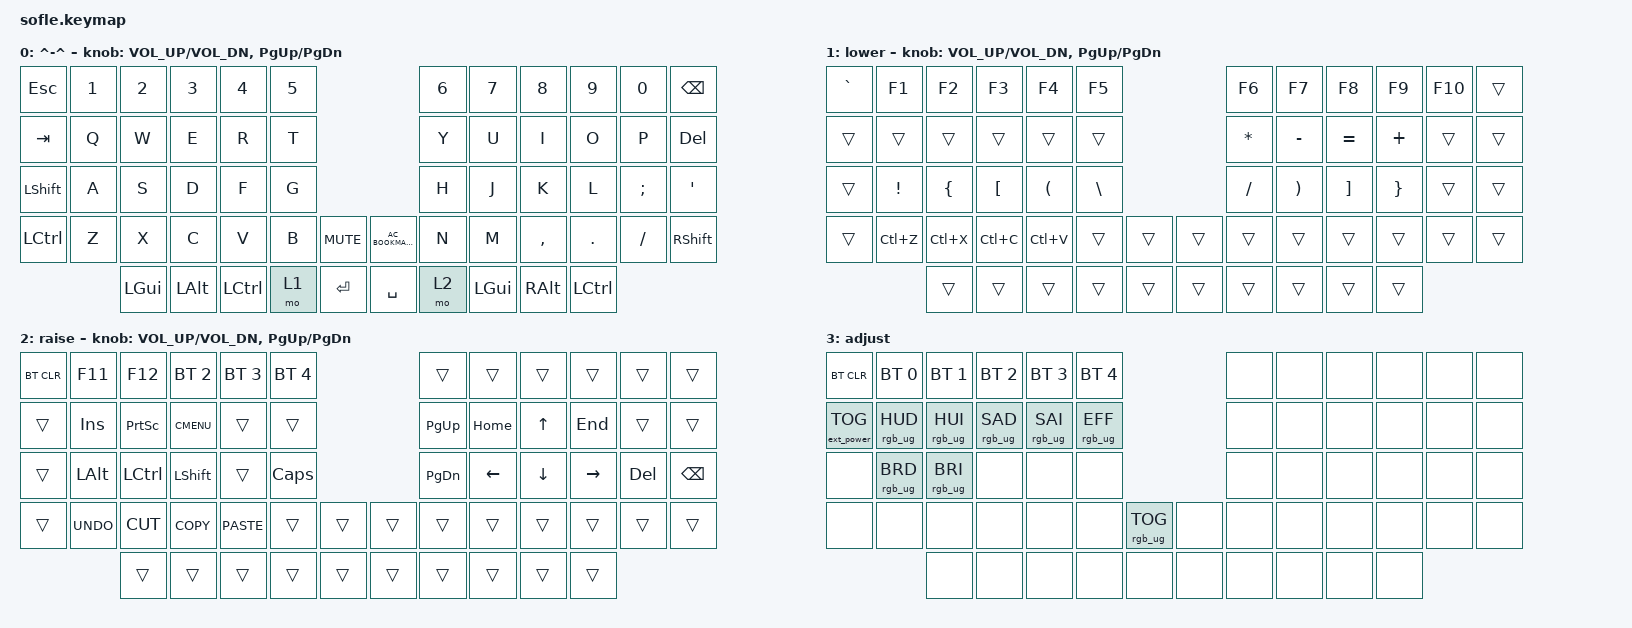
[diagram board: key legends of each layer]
/*
 * Copyright (c) 2020 The ZMK Contributors
 *
 * SPDX-License-Identifier: MIT
 */

#include <behaviors.dtsi>
#include <dt-bindings/zmk/bt.h>
#include <dt-bindings/zmk/ext_power.h>
#include <dt-bindings/zmk/keys.h>
#include <dt-bindings/zmk/rgb.h>

#define BASE 0
#define LOWER 1
#define RAISE 2
#define ADJUST 3

/ {
    // Activate ADJUST layer by pressing raise and lower

    conditional_layers {
        compatible = "zmk,conditional-layers";

        adjust_layer {
            if-layers = <1 2>;
            then-layer = <3>;
        };
    };

    keymap {
        compatible = "zmk,keymap";

        default_layer {
            display-name = "^-^";

            // ------------------------------------------------------------------------------------------------------------
            // |   `   |  1  |  2  |  3   |  4   |  5   |                   |  6   |  7    |  8    |  9   |   0   |       |
            // |  ESC  |  Q  |  W  |  E   |  R   |  T   |                   |  Y   |  U    |  I    |  O   |   P   | BKSPC |
            // |  TAB  |  A  |  S  |  D   |  F   |  G   |                   |  H   |  J    |  K    |  L   |   ;   |   '   |
            // | SHIFT |  Z  |  X  |  C   |  V   |  B   |  MUTE  |  |       |  N   |  M    |  ,    |  .   |   /   | SHIFT |
            //               | GUI | ALT  | CTRL | LOWER|  ENTER |  | SPACE | RAISE| CTRL  | ALT   | GUI  |

            bindings = <
&kp ESC         &kp N1  &kp N2    &kp N3    &kp N4     &kp N5                                    &kp N6  &kp N7    &kp N8     &kp N9     &kp N0    &kp BACKSPACE
&kp TAB         &kp Q   &kp W     &kp E     &kp R      &kp T                                     &kp Y   &kp U     &kp I      &kp O      &kp P     &kp DELETE
&kp LEFT_SHIFT  &kp A   &kp S     &kp D     &kp F      &kp G                                     &kp H   &kp J     &kp K      &kp L      &kp SEMI  &kp SQT
&kp LCTRL       &kp Z   &kp X     &kp C     &kp V      &kp B   &kp C_MUTE    &kp C_AC_BOOKMARKS  &kp N   &kp M     &kp COMMA  &kp DOT    &kp FSLH  &kp RSHFT
                        &kp LGUI  &kp LALT  &kp LCTRL  &mo 1   &kp ENTER     &kp SPACE           &mo 2   &kp LGUI  &kp RALT   &kp LCTRL
            >;

            sensor-bindings = <&inc_dec_kp C_VOL_UP C_VOL_DN &inc_dec_kp PG_UP PG_DN>;
        };

        lower_layer {
            display-name = "lower";

            // TODO: Some binds are waiting for shifted keycode support.
            // ------------------------------------------------------------------------------------------------------------
            // |       |  F1 |  F2 |  F3  |  F4  |  F5  |                   |  F6  |  F7   |  F8   |  F9  |  F10  |  F11  |
            // |   `   |  1  |  2  |  3   |  4   |  5   |                   |  6   |  7    |  8    |  9   |   0   |  F12  |
            // |       |  !  |  @  |  #   |  $   |  %   |                   |  ^   |  &    |  *    |  (   |   )   |   |   |
            // |       |  =  |  -  |  +   |  {   |  }   |        |  |       |  [   |  ]    |  ;    |  :   |   \   |       |
            //               |     |      |      |      |        |  |       |      |       |       |      |

            bindings = <
&kp GRAVE  &kp F1           &kp F2          &kp F3            &kp F4                &kp F5                      &kp F6        &kp F7                 &kp F8             &kp F9           &kp F10  &trans
&trans     &trans           &trans          &trans            &trans                &trans                      &kp ASTERISK  &kp MINUS              &kp EQUAL          &kp PLUS         &trans   &trans
&trans     &kp EXCLAMATION  &kp LEFT_BRACE  &kp LEFT_BRACKET  &kp LEFT_PARENTHESIS  &kp BSLH                    &kp SLASH     &kp RIGHT_PARENTHESIS  &kp RIGHT_BRACKET  &kp RIGHT_BRACE  &trans   &trans
&trans     &kp LC(Z)        &kp LC(X)       &kp LC(C)         &kp LC(V)             &trans    &trans    &trans  &trans        &trans                 &trans             &trans           &trans   &trans
                            &trans          &trans            &trans                &trans    &trans    &trans  &trans        &trans                 &trans             &trans
            >;

            sensor-bindings = <&inc_dec_kp C_VOL_UP C_VOL_DN &inc_dec_kp PG_UP PG_DN>;
        };

        raise_layer {
            display-name = "raise";

            // ------------------------------------------------------------------------------------------------------------
            // | BTCLR | BT1  | BT2  |  BT3  |  BT4  |  BT5 |                |      |      |       |      |       |       |
            // |       | INS  | PSCR | GUI   |       |      |                | PGUP |      |   ^   |      |       |       |
            // |       | ALT  | CTRL | SHIFT |       | CAPS |                | PGDN |   <- |   v   |  ->  |  DEL  | BKSPC |
            // |       | UNDO | CUT  | COPY  | PASTE |      |      |  |      |      |      |       |      |       |       |
            //                |      |       |       |      |      |  |      |      |      |       |      |

            bindings = <
&bt BT_CLR  &kp F11     &kp F12    &bt BT_SEL 2  &bt BT_SEL 3  &bt BT_SEL 4                    &trans     &trans    &trans    &trans     &trans   &trans
&trans      &kp INS     &kp PSCRN  &kp K_CMENU   &trans        &trans                          &kp PG_UP  &kp HOME  &kp UP    &kp END    &trans   &trans
&trans      &kp LALT    &kp LCTRL  &kp LSHFT     &trans        &kp CLCK                        &kp PG_DN  &kp LEFT  &kp DOWN  &kp RIGHT  &kp DEL  &kp BSPC
&trans      &kp K_UNDO  &kp K_CUT  &kp K_COPY    &kp K_PASTE   &trans        &trans    &trans  &trans     &trans    &trans    &trans     &trans   &trans
                        &trans     &trans        &trans        &trans        &trans    &trans  &trans     &trans    &trans    &trans
            >;

            sensor-bindings = <&inc_dec_kp C_VOL_UP C_VOL_DN &inc_dec_kp PG_UP PG_DN>;
        };

        adjust_layer {
            // ----------------------------------------------------------------------------------------------------------------------------
            // | BTCLR  |  BT1    |  BT2    |   BT3   |   BT4   |   BT5   |                  |      |      |       |      |       |       |
            // | EXTPWR | RGB_HUD | RGB_HUI | RGB_SAD | RGB_SAI | RGB_EFF |                  |      |      |       |      |       |       |
            // |        | RGB_BRD | RGB_BRI |         |         |         |                  |      |      |       |      |       |       |
            // |        |         |         |         |         |         | RGB_TOG | |      |      |      |       |      |       |       |
            //                    |         |         |         |         |         | |      |      |      |       |      |

            display-name = "adjust";
            bindings = <
&bt BT_CLR         &bt BT_SEL 0     &bt BT_SEL 1     &bt BT_SEL 2     &bt BT_SEL 3     &bt BT_SEL 4                               &none  &none  &none  &none  &none  &none
&ext_power EP_TOG  &rgb_ug RGB_HUD  &rgb_ug RGB_HUI  &rgb_ug RGB_SAD  &rgb_ug RGB_SAI  &rgb_ug RGB_EFF                            &none  &none  &none  &none  &none  &none
&none              &rgb_ug RGB_BRD  &rgb_ug RGB_BRI  &none            &none            &none                                      &none  &none  &none  &none  &none  &none
&none              &none            &none            &none            &none            &none            &rgb_ug RGB_TOG    &none  &none  &none  &none  &none  &none  &none
                                    &none            &none            &none            &none            &none              &none  &none  &none  &none  &none
            >;
        };
    };
};
